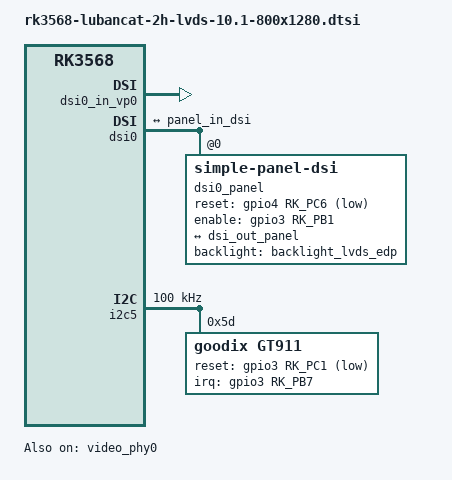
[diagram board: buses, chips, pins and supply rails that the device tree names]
// SPDX-License-Identifier: (GPL-2.0+ OR MIT)
/*
 * Copyright (c) 2020 Rockchip Electronics Co., Ltd.
 *
 */

&video_phy0 {
	status = "okay";
};

&dsi0_in_vp1 {
	status = "disabled";
};

&dsi0_in_vp0 {
	status = "okay";
};

&dsi0 {
	status = "okay";
	// rockchip,lane-rate = <480>;
	dsi0_panel: panel@0 {
		compatible = "simple-panel-dsi";
		reg = <0>;
		backlight = <&backlight_lvds_edp>;
		reset-gpios = <&gpio4 RK_PC6 GPIO_ACTIVE_LOW>;
		enable-gpios = <&gpio3 RK_PB1 GPIO_ACTIVE_HIGH>;

		enable-delay-ms = <35>;
		prepare-delay-ms = <6>;
		reset-delay-ms = <0>;
		init-delay-ms = <20>;
		unprepare-delay-ms = <0>;
		disable-delay-ms = <20>;

		size,width = <74>;
		size,height = <133>;

		dsi,flags = <(MIPI_DSI_MODE_VIDEO | MIPI_DSI_MODE_VIDEO_BURST | MIPI_DSI_MODE_LPM | MIPI_DSI_MODE_EOT_PACKET)>;
		dsi,format = <MIPI_DSI_FMT_RGB888>;
		dsi,lanes  = <4>;

		panel-init-sequence = [
			23 00 02 27 AA
			23 00 02 48 02
			23 00 02 B6 20
			23 00 02 01 20
			23 00 02 02 00
			23 00 02 03 53
			23 00 02 04 48
			23 00 02 05 18
			23 00 02 06 18
			23 00 02 07 00
			23 00 02 08 0C
			23 00 02 09 02
			23 00 02 0A 0A
			23 00 02 0B 82
			23 00 02 0C 22
			23 00 02 0D 01
			23 00 02 0E 80
			23 00 02 0F 20
			23 00 02 10 20
			23 00 02 11 03
			23 00 02 12 1B
			23 00 02 13 03
			23 00 02 14 01
			23 00 02 15 23
			23 00 02 16 40
			23 00 02 17 00
			23 00 02 18 01
			23 00 02 19 23
			23 00 02 1A 40
			23 00 02 1B 00
			23 00 02 1E 46
			23 00 02 51 30
			23 00 02 1F 10
			23 00 02 2A 01
            //如下为SSR展频，不加可能点不亮
			23 00 02 6A	08
			23 00 02 6C	9E
			23 00 02 6D 07
			23 00 02 6E	00
			23 00 02 6F	8A
			23 00 02 70 19
			23 64 02 71 00
		];

		disp_timings0: display-timings {
			native-mode = <&dsi0_timing0>;
			dsi0_timing0: timing0 {
				clock-frequency = <60000000>;
				hactive = <800>;
				vactive = <1280>;
				hsync-len = <24>;
				hback-porch = <24>;
				hfront-porch = <72>;
				vsync-len = <2>;
				vback-porch = <10>;
				vfront-porch = <12>;
				hsync-active = <0>;
				vsync-active = <0>;
				de-active = <0>;
				pixelclk-active = <0>;
			};
		};

		ports {
			#address-cells = <1>;
			#size-cells = <0>;
			port@0 {
				reg = <0>;
				panel_in_dsi: endpoint {
					remote-endpoint = <&dsi_out_panel>;
				};
			};
		};
	};

	ports {
		#address-cells = <1>;
		#size-cells = <0>;

		port@1 {
			reg = <1>;
			dsi_out_panel: endpoint {
				remote-endpoint = <&panel_in_dsi>;
			};
		};
	};
};

&route_hdmi {
	status = "disabled";
};

&hdmi_in_vp0 {
	status = "disabled";
};

&hdmi_in_vp1 {
	status = "disabled";
};

&hdmi {
	status = "disabled";
};

&i2c5 {
	status = "okay";
	clock-frequency = <100000>;

	gt911: gt911@5d {
		status = "okay";
		compatible = "goodix,gt911";
		reg = <0x5d>;
		interrupt-parent = <&gpio3>;
		interrupts = <RK_PB7 IRQ_TYPE_LEVEL_LOW>;
		reset-gpios = <&gpio3 RK_PC1 GPIO_ACTIVE_LOW>;
		irq-gpios = <&gpio3 RK_PB7 GPIO_ACTIVE_HIGH>;
	};
};
